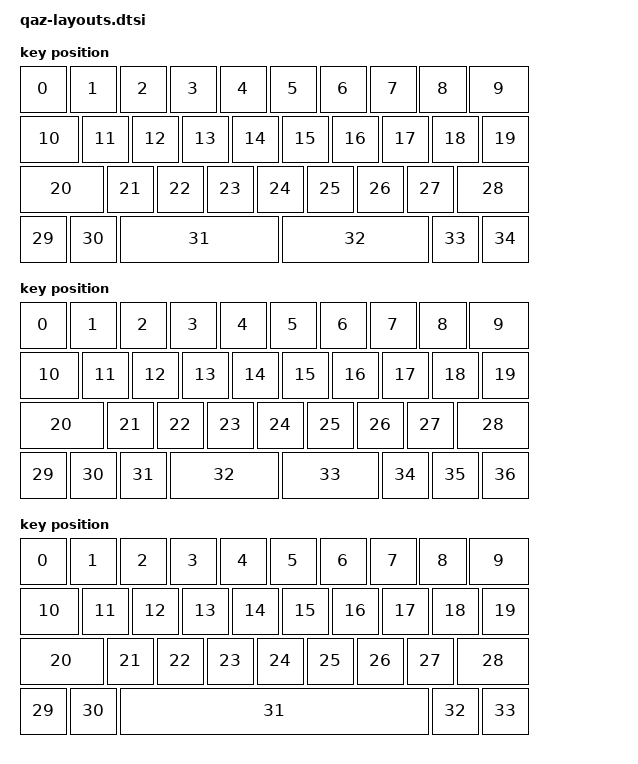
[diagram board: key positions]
/ {
  split_big_bar_layout: split_big_bar_layout {
      compatible = "zmk,physical-layout";
      display-name = "Split Big Bar";
      transform = <&split_big_bar>;
      kscan = <&kscan0>;
      keys  //                     w   h    x    y     rot    rx    ry
          = <&key_physical_attrs 100 100    0    0       0     0     0>
          , <&key_physical_attrs 100 100  100    0       0     0     0>
          , <&key_physical_attrs 100 100  200    0       0     0     0>
          , <&key_physical_attrs 100 100  300    0       0     0     0>
          , <&key_physical_attrs 100 100  400    0       0     0     0>
          , <&key_physical_attrs 100 100  500    0       0     0     0>
          , <&key_physical_attrs 100 100  600    0       0     0     0>
          , <&key_physical_attrs 100 100  700    0       0     0     0>
          , <&key_physical_attrs 100 100  800    0       0     0     0>
          , <&key_physical_attrs 125 100  900    0       0     0     0>

          , <&key_physical_attrs 125 100    0  100       0     0     0>
          , <&key_physical_attrs 100 100  125  100       0     0     0>
          , <&key_physical_attrs 100 100  225  100       0     0     0>
          , <&key_physical_attrs 100 100  325  100       0     0     0>
          , <&key_physical_attrs 100 100  425  100       0     0     0>
          , <&key_physical_attrs 100 100  525  100       0     0     0>
          , <&key_physical_attrs 100 100  625  100       0     0     0>
          , <&key_physical_attrs 100 100  725  100       0     0     0>
          , <&key_physical_attrs 100 100  825  100       0     0     0>
          , <&key_physical_attrs 100 100  925  100       0     0     0>

          , <&key_physical_attrs 175 100    0  200       0     0     0>
          , <&key_physical_attrs 100 100  175  200       0     0     0>
          , <&key_physical_attrs 100 100  275  200       0     0     0>
          , <&key_physical_attrs 100 100  375  200       0     0     0>
          , <&key_physical_attrs 100 100  475  200       0     0     0>
          , <&key_physical_attrs 100 100  575  200       0     0     0>
          , <&key_physical_attrs 100 100  675  200       0     0     0>
          , <&key_physical_attrs 100 100  775  200       0     0     0>
          , <&key_physical_attrs 150 100  875  200       0     0     0>
            
          , <&key_physical_attrs 100 100    0  300       0     0     0>
          , <&key_physical_attrs 100 100  100  300       0     0     0>
          , <&key_physical_attrs 325 100  200  300       0     0     0>
          , <&key_physical_attrs 300 100  525  300       0     0     0>
          , <&key_physical_attrs 100 100  825  300       0     0     0>
          , <&key_physical_attrs 100 100  925  300       0     0     0>
          ;
  };

  split_bar_layout: split_bar_layout {
      compatible = "zmk,physical-layout";
      display-name = "Split Bar";
      transform = <&split_bar>;
      kscan = <&kscan0>;
      keys  //                     w   h    x    y     rot    rx    ry
          = <&key_physical_attrs 100 100    0    0       0     0     0>
          , <&key_physical_attrs 100 100  100    0       0     0     0>
          , <&key_physical_attrs 100 100  200    0       0     0     0>
          , <&key_physical_attrs 100 100  300    0       0     0     0>
          , <&key_physical_attrs 100 100  400    0       0     0     0>
          , <&key_physical_attrs 100 100  500    0       0     0     0>
          , <&key_physical_attrs 100 100  600    0       0     0     0>
          , <&key_physical_attrs 100 100  700    0       0     0     0>
          , <&key_physical_attrs 100 100  800    0       0     0     0>
          , <&key_physical_attrs 125 100  900    0       0     0     0>

          , <&key_physical_attrs 125 100    0  100       0     0     0>
          , <&key_physical_attrs 100 100  125  100       0     0     0>
          , <&key_physical_attrs 100 100  225  100       0     0     0>
          , <&key_physical_attrs 100 100  325  100       0     0     0>
          , <&key_physical_attrs 100 100  425  100       0     0     0>
          , <&key_physical_attrs 100 100  525  100       0     0     0>
          , <&key_physical_attrs 100 100  625  100       0     0     0>
          , <&key_physical_attrs 100 100  725  100       0     0     0>
          , <&key_physical_attrs 100 100  825  100       0     0     0>
          , <&key_physical_attrs 100 100  925  100       0     0     0>

          , <&key_physical_attrs 175 100    0  200       0     0     0>
          , <&key_physical_attrs 100 100  175  200       0     0     0>
          , <&key_physical_attrs 100 100  275  200       0     0     0>
          , <&key_physical_attrs 100 100  375  200       0     0     0>
          , <&key_physical_attrs 100 100  475  200       0     0     0>
          , <&key_physical_attrs 100 100  575  200       0     0     0>
          , <&key_physical_attrs 100 100  675  200       0     0     0>
          , <&key_physical_attrs 100 100  775  200       0     0     0>
          , <&key_physical_attrs 150 100  875  200       0     0     0>

          , <&key_physical_attrs 100 100    0  300       0     0     0>
          , <&key_physical_attrs 100 100  100  300       0     0     0>
          , <&key_physical_attrs 100 100  200  300       0     0     0>
          , <&key_physical_attrs 225 100  300  300       0     0     0>
          , <&key_physical_attrs 200 100  525  300       0     0     0>
          , <&key_physical_attrs 100 100  725  300       0     0     0>
          , <&key_physical_attrs 100 100  825  300       0     0     0>
          , <&key_physical_attrs 100 100  925  300       0     0     0>
          ;
  };

  big_bar_layout: big_bar_layout {
      compatible = "zmk,physical-layout";
      display-name = "Split Bar";
      transform = <&big_bar>;
      kscan = <&kscan0>;
      keys  //                     w   h    x    y     rot    rx    ry
          = <&key_physical_attrs 100 100    0    0       0     0     0>
          , <&key_physical_attrs 100 100  100    0       0     0     0>
          , <&key_physical_attrs 100 100  200    0       0     0     0>
          , <&key_physical_attrs 100 100  300    0       0     0     0>
          , <&key_physical_attrs 100 100  400    0       0     0     0>
          , <&key_physical_attrs 100 100  500    0       0     0     0>
          , <&key_physical_attrs 100 100  600    0       0     0     0>
          , <&key_physical_attrs 100 100  700    0       0     0     0>
          , <&key_physical_attrs 100 100  800    0       0     0     0>
          , <&key_physical_attrs 125 100  900    0       0     0     0>

          , <&key_physical_attrs 125 100    0  100       0     0     0>
          , <&key_physical_attrs 100 100  125  100       0     0     0>
          , <&key_physical_attrs 100 100  225  100       0     0     0>
          , <&key_physical_attrs 100 100  325  100       0     0     0>
          , <&key_physical_attrs 100 100  425  100       0     0     0>
          , <&key_physical_attrs 100 100  525  100       0     0     0>
          , <&key_physical_attrs 100 100  625  100       0     0     0>
          , <&key_physical_attrs 100 100  725  100       0     0     0>
          , <&key_physical_attrs 100 100  825  100       0     0     0>
          , <&key_physical_attrs 100 100  925  100       0     0     0>

          , <&key_physical_attrs 175 100    0  200       0     0     0>
          , <&key_physical_attrs 100 100  175  200       0     0     0>
          , <&key_physical_attrs 100 100  275  200       0     0     0>
          , <&key_physical_attrs 100 100  375  200       0     0     0>
          , <&key_physical_attrs 100 100  475  200       0     0     0>
          , <&key_physical_attrs 100 100  575  200       0     0     0>
          , <&key_physical_attrs 100 100  675  200       0     0     0>
          , <&key_physical_attrs 100 100  775  200       0     0     0>
          , <&key_physical_attrs 150 100  875  200       0     0     0>

          , <&key_physical_attrs 100 100    0  300       0     0     0>
          , <&key_physical_attrs 100 100  100  300       0     0     0>
          , <&key_physical_attrs 625 100  200  300       0     0     0>
          , <&key_physical_attrs 100 100  825  300       0     0     0>
          , <&key_physical_attrs 100 100  925  300       0     0     0>
          ;
  };
};
